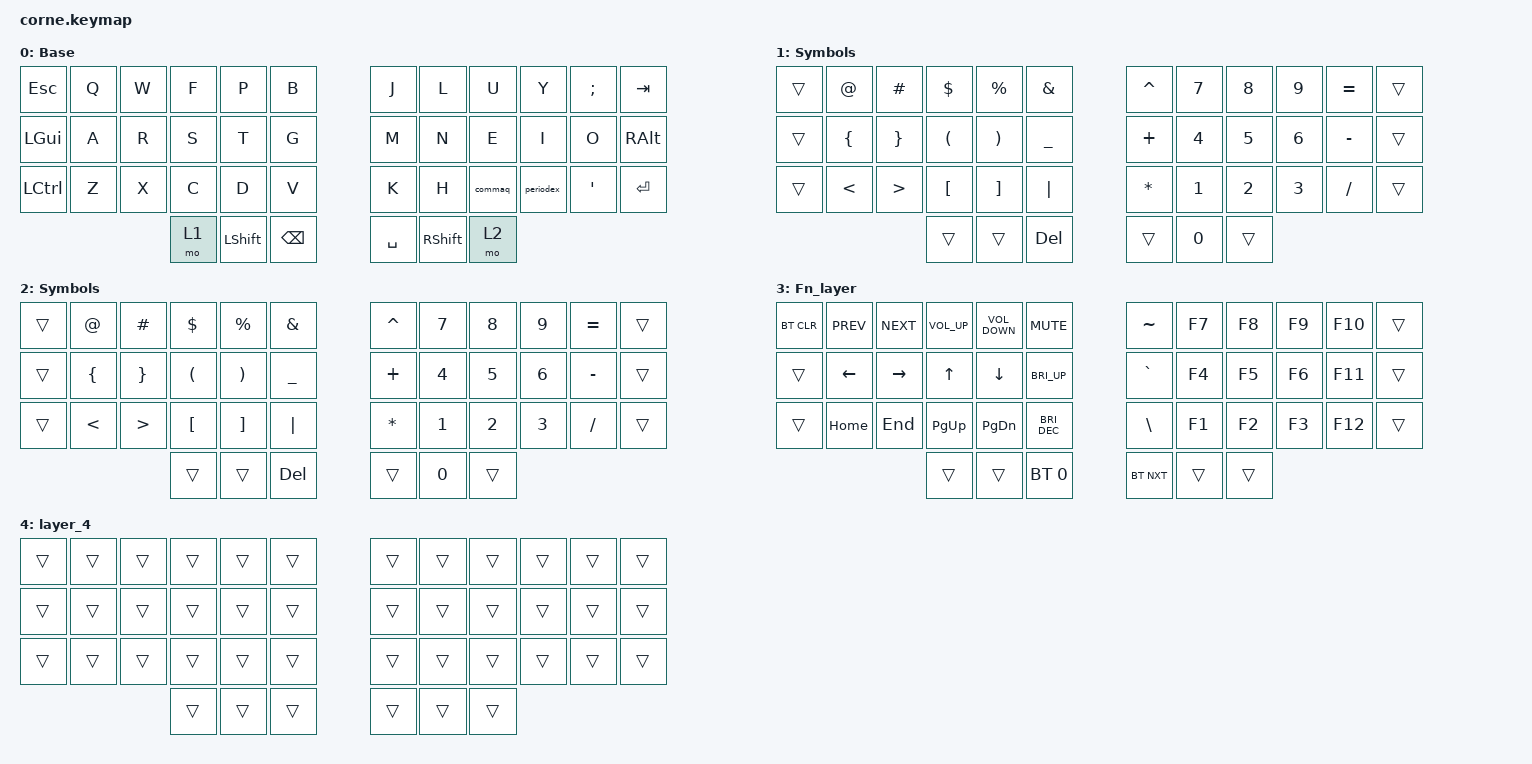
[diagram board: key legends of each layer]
/*
 * Copyright (c) 2020 The ZMK Contributors
 *
 * SPDX-License-Identifier: MIT
 */

#include <behaviors.dtsi>
#include <dt-bindings/zmk/bt.h>
#include <dt-bindings/zmk/keys.h>

/ {
    combos { compatible = "zmk,combos"; };

    behaviors {
        commaq: commaq {
            compatible = "zmk,behavior-mod-morph";
            label = "COMMAQ";
            bindings = <&kp COMMA>, <&kp QUESTION>;

            #binding-cells = <0>;
            mods = <(MOD_LSFT|MOD_RSFT)>;
        };

        periodex: periodex {
            compatible = "zmk,behavior-mod-morph";
            label = "PERIODEX";
            bindings = <&kp PERIOD>, <&kp RS(NUMBER_1)>;

            #binding-cells = <0>;
            mods = <(MOD_LSFT|MOD_RSFT)>;
        };
    };

    keymap {
        compatible = "zmk,keymap";

        default_layer {
            // -----------------------------------------------------------------------------------------
            // |  TAB |  Q  |  W  |  E  |  R  |  T  |   |  Y  |  U   |  I  |  O  |  P  | BKSP |
            // | CTRL |  A  |  S  |  D  |  F  |  G  |   |  H  |  J   |  K  |  L  |  ;  |  '   |
            // | SHFT |  Z  |  X  |  C  |  V  |  B  |   |  N  |  M   |  ,  |  .  |  /  | ESC  |
            //                    | GUI | LWR | SPC |   | ENT | RSE  | ALT |

            display-name = "Base";
            bindings = <
&kp ESCAPE        &kp Q  &kp W  &kp F  &kp P           &kp B            &kp J      &kp L            &kp U    &kp Y      &kp SEMI          &kp TAB
&kp LEFT_GUI      &kp A  &kp R  &kp S  &kp T           &kp G            &kp M      &kp N            &kp E    &kp I      &kp O             &kp RIGHT_ALT
&kp LEFT_CONTROL  &kp Z  &kp X  &kp C  &kp D           &kp V            &kp K      &kp H            &commaq  &periodex  &kp SINGLE_QUOTE  &kp ENTER
                                &mo 1  &kp LEFT_SHIFT  &kp BACKSPACE    &kp SPACE  &kp RIGHT_SHIFT  &mo 2
            >;
        };

        symbols_1 {
            // -----------------------------------------------------------------------------------------
            // |  TAB |  1  |  2  |  3  |  4  |  5  |   |  6  |  7  |  8  |  9  |  0  | BKSP |
            // | BTCLR| BT1 | BT2 | BT3 | BT4 | BT5 |   | LFT | DWN |  UP | RGT |     |      |
            // | SHFT |     |     |     |     |     |   |     |     |     |     |     |      |
            //                    | GUI |     | SPC |   | ENT |     | ALT |

            display-name = "Symbols";
            bindings = <
&trans  &kp AT          &kp HASH          &kp DOLLAR            &kp PERCENT            &kp AMPERSAND    &kp CARET     &kp N7  &kp N8  &kp N9  &kp EQUAL  &trans
&trans  &kp LEFT_BRACE  &kp RIGHT_BRACE   &kp LEFT_PARENTHESIS  &kp RIGHT_PARENTHESIS  &kp UNDER        &kp PLUS      &kp N4  &kp N5  &kp N6  &kp MINUS  &trans
&trans  &kp LESS_THAN   &kp GREATER_THAN  &kp LBKT              &kp RBKT               &kp PIPE         &kp ASTERISK  &kp N1  &kp N2  &kp N3  &kp FSLH   &trans
                                          &trans                &trans                 &kp DELETE       &trans        &kp N0  &trans
            >;
        };

        symbols_2 {
            display-name = "Symbols";
            bindings = <
&trans  &kp AT_SIGN     &kp HASH          &kp DOLLAR            &kp PERCENT            &kp AMPERSAND    &kp CARET  &kp N7        &kp N8        &kp N9        &kp EQUAL  &trans
&trans  &kp LEFT_BRACE  &kp RIGHT_BRACE   &kp LEFT_PARENTHESIS  &kp RIGHT_PARENTHESIS  &kp UNDER        &kp PLUS   &kp NUMBER_4  &kp NUMBER_5  &kp NUMBER_6  &kp MINUS  &trans
&trans  &kp LESS_THAN   &kp GREATER_THAN  &kp LEFT_BRACKET      &kp RIGHT_BRACKET      &kp PIPE         &kp ASTRK  &kp NUMBER_1  &kp NUMBER_2  &kp NUMBER_3  &kp SLASH  &trans
                                          &trans                &trans                 &kp DELETE       &trans     &kp N0        &trans
            >;
        };

        Fn_layer {
            bindings = <
&bt BT_CLR  &kp C_PREV      &kp C_NEXT       &kp C_VOLUME_UP  &kp C_VOLUME_DOWN  &kp C_MUTE              &kp TILDE      &kp F7  &kp F8  &kp F9  &kp F10  &trans
&trans      &kp LEFT_ARROW  &kp RIGHT_ARROW  &kp UP_ARROW     &kp DOWN_ARROW     &kp C_BRI_UP            &kp GRAVE      &kp F4  &kp F5  &kp F6  &kp F11  &trans
&trans      &kp HOME        &kp END          &kp PAGE_UP      &kp PAGE_DOWN      &kp C_BRIGHTNESS_DEC    &kp BACKSLASH  &kp F1  &kp F2  &kp F3  &kp F12  &trans
                                             &trans           &trans             &bt BT_SEL 0            &bt BT_NXT     &trans  &trans
            >;
        };

        layer_4 {
            bindings = <
&trans  &trans  &trans  &trans  &trans  &trans    &trans  &trans  &trans  &trans  &trans  &trans
&trans  &trans  &trans  &trans  &trans  &trans    &trans  &trans  &trans  &trans  &trans  &trans
&trans  &trans  &trans  &trans  &trans  &trans    &trans  &trans  &trans  &trans  &trans  &trans
                        &trans  &trans  &trans    &trans  &trans  &trans
            >;
        };
    };

    conditional_layers {
        compatible = "zmk,conditional-layers";

        Sys_condition {
            if-layers = <1 2>;
            then-layer = <3>;
        };
    };
};
